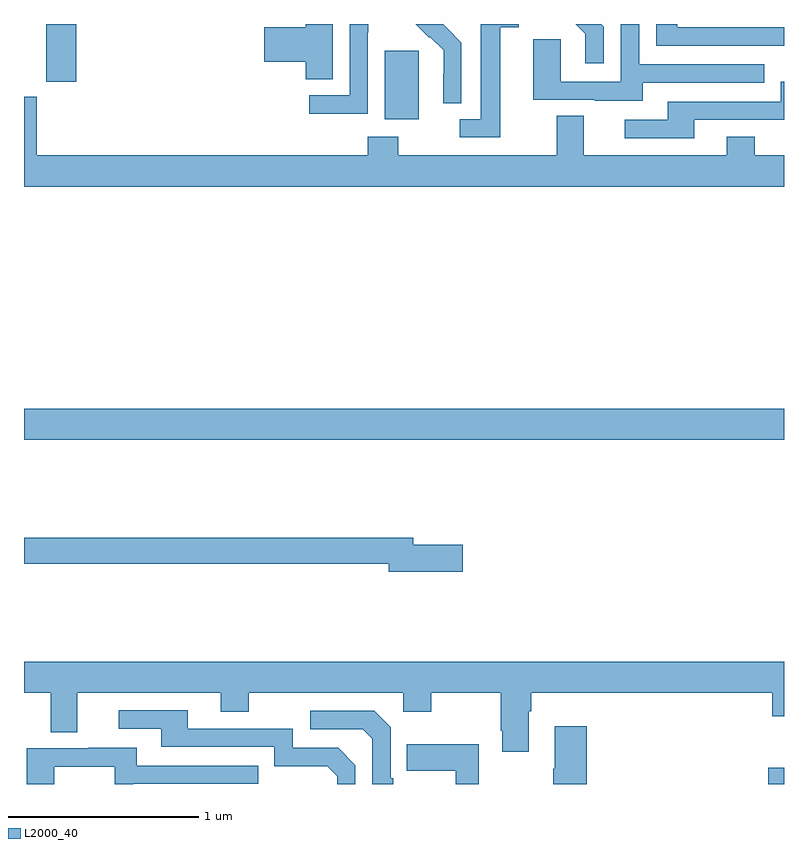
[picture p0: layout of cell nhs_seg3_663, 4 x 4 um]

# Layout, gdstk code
import gdstk
lib = gdstk.Library(unit=1e-6, precision=1e-09)
def R(c, l, rs):  # rectangles x0, y0, x1, y1
    for r in rs: c.add(gdstk.rectangle(r[:2], r[2:], *l))
def P(c, l, *ps):  # polygons
    for p in ps: c.add(gdstk.Polygon(p, *l))
L2000_40 = (2000, 40)

nhs_seg3_663 = lib.new_cell('nhs_seg3_663')
R(nhs_seg3_663, L2000_40, [(146.918,736.4,147,736.486), (143,738.212,147,738.376), (144.899,739.898,145.078,740.259), (143.116,740.097,143.276,740.4)])
P(nhs_seg3_663, L2000_40, [(146.052,740.386),(146.038,740.4),(145.904,740.4),(145.955,740.349),(145.955,740.193),(146.052,740.193)],
  [(145.507,740.384),(145.603,740.384),(145.603,740.4),(145.403,740.4),(145.403,739.899),(145.293,739.899),(145.293,739.803),(145.507,739.803)],
  [(147,740.382),(146.437,740.382),(146.437,740.4),(146.328,740.4),(146.328,740.286),(147,740.286)],
  [(145.302,740.302),(145.229,740.375),(145.23,740.376),(145.206,740.4),(145.062,740.4),(145.134,740.328),(145.137,740.331),(145.208,740.261),(145.208,740.138),(145.206,740.138),(145.206,739.984),(145.302,739.984)],
  [(144.81,740.356),(144.813,740.356),(144.813,740.4),(144.714,740.4),(144.714,740.025),(144.501,740.025),(144.501,739.927),(144.81,739.927)],
  [(146.257,740.091),(146.897,740.091),(146.897,740.187),(146.238,740.187),(146.238,740.4),(146.142,740.4),(146.142,740.097),(145.824,740.097),(145.824,740.321),(145.679,740.321),(145.679,740.001),(146.003,740.001),(146.003,739.997),(146.257,739.997)],
  [(144.625,740.4),(144.482,740.4),(144.482,740.384),(144.264,740.384),(144.264,740.201),(144.482,740.201),(144.482,740.11),(144.625,740.11)],
  [(146.527,739.896),(147,739.896),(147,740.095),(146.982,740.095),(146.982,739.992),(146.387,739.992),(146.387,739.896),(146.163,739.896),(146.163,739.8),(146.527,739.8)],
  [(147,739.708),(146.847,739.708),(146.847,739.807),(146.699,739.807),(146.699,739.708),(145.945,739.708),(145.945,739.916),(145.805,739.916),(145.805,739.708),(144.969,739.708),(144.969,739.807),(144.809,739.807),(144.809,739.708),(143.068,739.708),(143.068,740.017),(143,740.017),(143,739.544),(147,739.544)],
  [(145.309,737.66),(145.048,737.66),(145.048,737.696),(143,737.696),(143,737.56),(144.92,737.56),(144.92,737.518),(145.309,737.518)],
  [(145.657,736.784),(145.67,736.784),(145.67,736.88),(146.939,736.88),(146.939,736.756),(147,736.756),(147,737.044),(143,737.044),(143,736.88),(143.141,736.88),(143.141,736.672),(143.281,736.672),(143.281,736.88),(144.035,736.88),(144.035,736.781),(144.183,736.781),(144.183,736.88),(144.996,736.88),(144.996,736.781),(145.143,736.781),(145.143,736.88),(145.51,736.88),(145.51,736.681),(145.517,736.681),(145.517,736.569),(145.657,736.569)],
  [(144.744,736.5),(144.654,736.59),(144.414,736.59),(144.414,736.692),(143.863,736.692),(143.863,736.788),(143.499,736.788),(143.499,736.692),(143.723,736.692),(143.723,736.596),(144.318,736.596),(144.318,736.493),(144.595,736.493),(144.648,736.44),(144.648,736.4),(144.744,736.4)],
  [(144.943,736.429),(144.93,736.429),(144.93,736.698),(144.843,736.785),(144.507,736.785),(144.507,736.689),(144.783,736.689),(144.834,736.638),(144.834,736.4),(144.943,736.4)],
  [(145.961,736.705),(145.793,736.705),(145.793,736.481),(145.786,736.481),(145.786,736.4),(145.961,736.4)],
  [(145.393,736.609),(145.015,736.609),(145.015,736.469),(145.272,736.469),(145.272,736.4),(145.393,736.4)],
  [(143.16,736.491),(143.478,736.491),(143.478,736.4),(143.574,736.4),(143.574,736.401),(144.233,736.401),(144.233,736.497),(143.593,736.497),(143.593,736.591),(143.339,736.591),(143.339,736.587),(143.015,736.587),(143.015,736.4),(143.16,736.4)])

lib.write_gds('nhs_seg3_663.gds')
